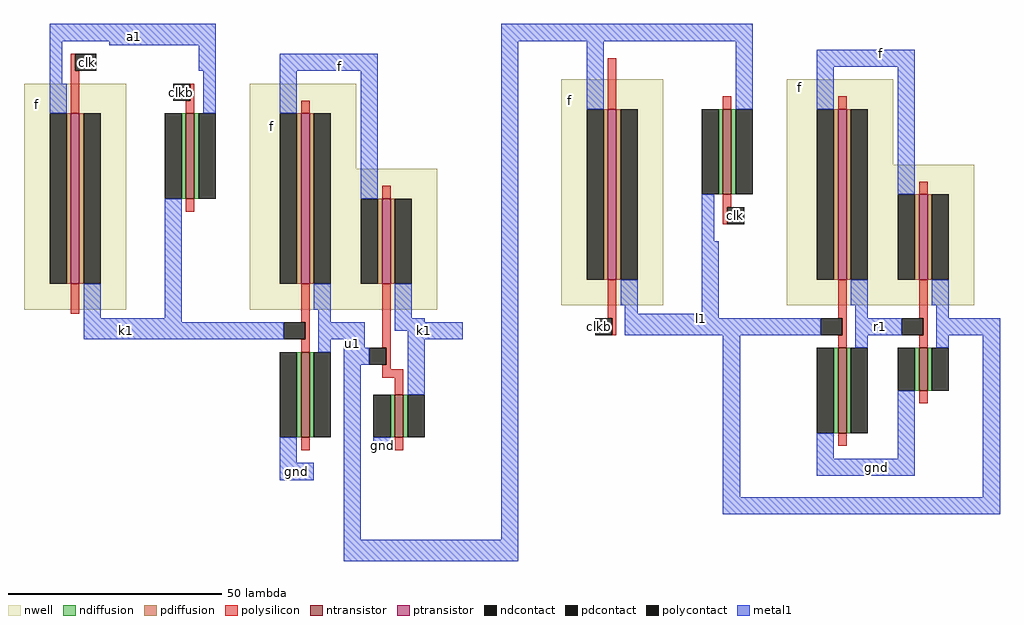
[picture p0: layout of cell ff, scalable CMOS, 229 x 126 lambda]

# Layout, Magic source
magic
tech scmos
<< nwell >>
rect -5 -101 19 -48
rect 48 -68 73 -48
rect 48 -101 92 -68
rect 121 -100 145 -47
rect 174 -67 199 -47
rect 174 -100 218 -67
<< ntransistor >>
rect 33 -75 35 -55
rect 159 -74 161 -54
rect 60 -131 62 -111
rect 82 -131 84 -121
rect 186 -130 188 -110
rect 205 -120 207 -110
<< ptransistor >>
rect 6 -95 8 -55
rect 60 -95 62 -55
rect 79 -95 81 -75
rect 132 -94 134 -54
rect 186 -94 188 -54
rect 205 -94 207 -74
<< ndiffusion >>
rect 32 -75 33 -55
rect 35 -75 36 -55
rect 158 -74 159 -54
rect 161 -74 162 -54
rect 59 -131 60 -111
rect 62 -131 63 -111
rect 81 -131 82 -121
rect 84 -131 85 -121
rect 185 -130 186 -110
rect 188 -130 189 -110
rect 204 -120 205 -110
rect 207 -120 208 -110
<< pdiffusion >>
rect 5 -95 6 -55
rect 8 -95 9 -55
rect 59 -95 60 -55
rect 62 -95 63 -55
rect 78 -95 79 -75
rect 81 -95 82 -75
rect 131 -94 132 -54
rect 134 -94 135 -54
rect 185 -94 186 -54
rect 188 -94 189 -54
rect 204 -94 205 -74
rect 207 -94 208 -74
<< ndcontact >>
rect 28 -75 32 -55
rect 36 -75 40 -55
rect 154 -74 158 -54
rect 162 -74 166 -54
rect 55 -131 59 -111
rect 63 -131 67 -111
rect 77 -131 81 -121
rect 85 -131 89 -121
rect 181 -130 185 -110
rect 189 -130 193 -110
rect 200 -120 204 -110
rect 208 -120 212 -110
<< pdcontact >>
rect 1 -95 5 -55
rect 9 -95 13 -55
rect 55 -95 59 -55
rect 63 -95 67 -55
rect 74 -95 78 -75
rect 82 -95 86 -75
rect 127 -94 131 -54
rect 135 -94 139 -54
rect 181 -94 185 -54
rect 189 -94 193 -54
rect 200 -94 204 -74
rect 208 -94 212 -74
<< polysilicon >>
rect 6 -45 7 -41
rect 6 -55 8 -45
rect 34 -52 35 -48
rect 33 -55 35 -52
rect 60 -55 62 -52
rect 132 -54 134 -42
rect 159 -54 161 -51
rect 186 -54 188 -51
rect 33 -78 35 -75
rect 79 -75 81 -72
rect 159 -77 161 -74
rect 159 -81 160 -77
rect 205 -74 207 -71
rect 6 -102 8 -95
rect 60 -104 62 -95
rect 61 -108 62 -104
rect 60 -111 62 -108
rect 79 -110 81 -95
rect 132 -103 134 -94
rect 186 -103 188 -94
rect 205 -103 207 -94
rect 133 -107 134 -103
rect 187 -107 188 -103
rect 206 -107 207 -103
rect 186 -110 188 -107
rect 205 -110 207 -107
rect 80 -114 81 -110
rect 79 -115 81 -114
rect 79 -117 84 -115
rect 82 -121 84 -117
rect 205 -123 207 -120
rect 60 -134 62 -131
rect 82 -134 84 -131
rect 186 -133 188 -130
<< polycontact >>
rect 7 -45 12 -41
rect 30 -52 34 -48
rect 160 -81 164 -77
rect 56 -108 61 -104
rect 129 -107 133 -103
rect 182 -107 187 -103
rect 201 -107 206 -103
rect 76 -114 80 -110
<< metal1 >>
rect 1 -38 40 -34
rect 1 -48 4 -38
rect 15 -39 40 -38
rect 36 -45 40 -39
rect 107 -38 166 -34
rect 1 -55 5 -48
rect 37 -55 40 -45
rect 9 -103 13 -95
rect 55 -45 78 -41
rect 55 -55 59 -45
rect 28 -103 32 -75
rect 74 -75 78 -45
rect 63 -101 67 -95
rect 9 -104 32 -103
rect 64 -104 67 -101
rect 82 -103 86 -95
rect 82 -104 89 -103
rect 9 -108 56 -104
rect 64 -108 75 -104
rect 82 -106 98 -104
rect 64 -111 67 -108
rect 70 -110 75 -108
rect 85 -108 98 -106
rect 70 -114 76 -110
rect 55 -137 59 -131
rect 55 -141 63 -137
rect 70 -155 74 -114
rect 85 -121 89 -108
rect 77 -133 81 -131
rect 107 -155 111 -38
rect 127 -54 131 -38
rect 162 -54 166 -38
rect 135 -100 139 -94
rect 136 -102 139 -100
rect 181 -44 204 -40
rect 181 -54 185 -44
rect 154 -85 157 -74
rect 154 -102 158 -85
rect 200 -74 204 -44
rect 189 -100 193 -94
rect 208 -100 212 -94
rect 136 -103 158 -102
rect 190 -103 193 -100
rect 209 -103 212 -100
rect 136 -107 182 -103
rect 190 -107 201 -103
rect 209 -107 224 -103
rect 159 -145 163 -107
rect 190 -110 193 -107
rect 209 -110 212 -107
rect 181 -136 185 -130
rect 200 -136 204 -120
rect 181 -140 204 -136
rect 220 -145 224 -107
rect 159 -149 224 -145
rect 70 -160 111 -155
<< labels >>
rlabel metal1 195 -138 195 -138 1 gnd
rlabel metal1 21 -37 21 -37 5 a1
rlabel metal1 19 -106 19 -106 1 k1
rlabel polycontact 10 -43 10 -43 1 clk
rlabel polycontact 32 -50 32 -50 1 clkb
rlabel metal1 154 -103 154 -103 1 l1
rlabel metal1 196 -105 196 -105 1 r1
rlabel polycontact 130 -105 130 -105 1 clkb
rlabel polycontact 162 -79 162 -79 1 clk
rlabel metal1 59 -139 59 -139 1 gnd
rlabel metal1 69 -44 69 -44 1 f
rlabel metal1 196 -41 196 -41 1 f
rlabel metal1 79 -133 79 -133 1 gnd
rlabel metal1 72 -109 72 -109 1 u1
rlabel space -13 -106 -13 -106 3 gnd
rlabel metal1 89 -106 89 -106 1 k1
rlabel nwell -2 -53 -2 -53 1 f
rlabel nwell 53 -58 53 -58 1 f
rlabel nwell 123 -52 123 -52 1 f
rlabel nwell 177 -49 177 -49 1 f
<< end >>
